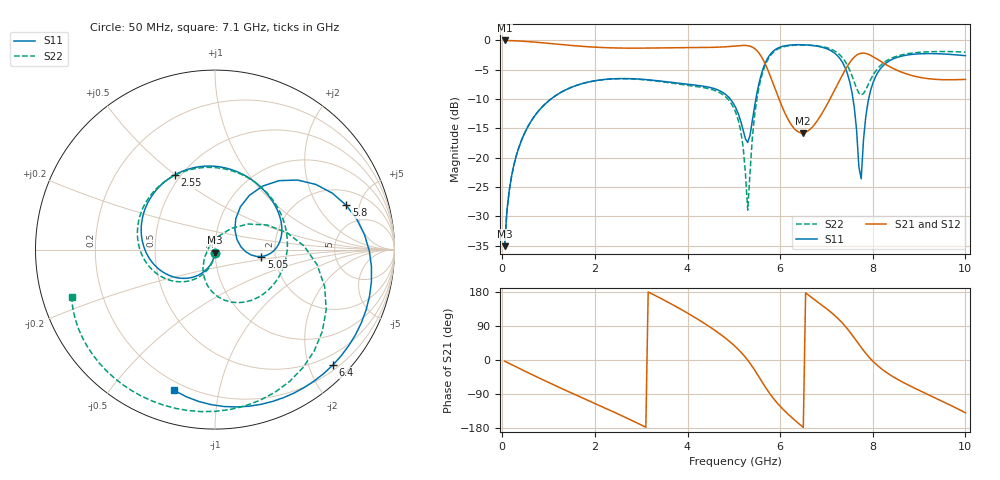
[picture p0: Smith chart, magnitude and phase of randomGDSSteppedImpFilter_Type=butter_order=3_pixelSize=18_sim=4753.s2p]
! freq	dB(S11)	phase(S11)	dB(S12)	phase(S12)
!  dB(S21)	phase(S21)	dB(S22)	phase(S22)
!S-par simulation data
#  GHz  S  DB  R 50
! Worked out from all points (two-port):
!   200 points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, 50 MHz to 10 GHz, reference 50 ohm
!   highest |S21| = -0.01 dB at 50 MHz (marker M1); lowest = -15.8 dB at 6.5 GHz (marker M2)
!   |S21| within 3 dB of the highest: start of sweep to 5.612 GHz; 7.582 GHz to 8.056 GHz (474.2 MHz wide, 6.06 % of centre)
!   lowest |S11| = -35.1 dB at 50 MHz (marker M3), VSWR 1.04, Z = 49.9 - j1.75 ohm
!   |S11| at or under -10 dB: start of sweep to 1.05 GHz; 4.922 GHz to 5.476 GHz (553.6 MHz wide, 10.6 % of centre); 7.573 GHz to 7.911 GHz (338.1 MHz wide, 4.37 % of centre)
!   |S22| runs from -35.1 to -0.8 dB; largest |S21 - S12| = 0
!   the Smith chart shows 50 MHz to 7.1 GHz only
!   S11 on the Smith chart (normalised r, x): 50 MHz: 1.00, -0.04; 2.55 GHz: 0.47, +0.50; 5.05 GHz: 1.69, -0.14; 5.8 GHz: 3.04, +3.71; 6.4 GHz: 0.29, -2.42; 7.1 GHz: 0.16, -0.74
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0.05  -35.10 -93.1  -0.01 -3.1  -0.01 -3.1  -35.09 -92.7
0.2  -23.17 -103.2  -0.04 -12.2  -0.04 -12.2  -23.16 -101.6
0.5  -15.51 -122.6  -0.17 -30.2  -0.17 -30.2  -15.51 -118.7
1.75  -7.31 162.4  -1.03 -101.1  -1.03 -101.1  -7.32 174.3
2.55  -6.51 118.1  -1.30 -145.3  -1.30 -145.3  -6.53 130.4
3.4  -6.92 73.9  -1.28 164.1  -1.28 164.1  -7.01 73.9
4.35  -7.82 28.1  -1.21 97.8  -1.21 97.8  -8.06 -11.2
5.05  -11.64 -8.5  -0.94 33.4  -0.94 33.4  -12.49 -93.5
5.3  -17.41 24.9  -0.90 -0.5  -0.90 -0.5  -28.95 153.3
5.5  -8.92 57.6  -1.74 -36.2  -1.74 -36.2  -9.86 25.2
5.8  -2.25 18.6  -6.35 -92.7  -6.35 -92.7  -2.48 -37.3
6.05  -1.01 -11.7  -11.44 -128.5  -11.44 -128.5  -1.15 -73.4
6.4  -0.73 -44.4  -15.64 -167.7  -15.64 -167.7  -0.79 -108.2
6.5  -0.75 -52.8  -15.77 -177.9  -15.77 -177.9  -0.79 -116.4
6.7  -0.87 -69.4  -14.73 163.1  -14.73 163.1  -0.85 -131.8
7.1  -1.76 -106.3  -9.64 125.8  -9.64 125.8  -1.49 -161.5
7.5  -6.98 -162.7  -3.82 74.9  -3.82 74.9  -5.04 169.2
7.75  -23.61 36.8  -2.18 33.1  -2.18 33.1  -9.32 -173.9
7.95  -8.62 -42.8  -2.53 3.3  -2.53 3.3  -6.74 -156.4
8.35  -3.52 -90.8  -4.41 -37.3  -4.41 -37.3  -3.23 -171.7
9.25  -2.25 -159.6  -6.57 -94.4  -6.57 -94.4  -1.93 149.1
10  -2.60 137.9  -6.65 -139.4  -6.65 -139.4  -2.02 121.2
